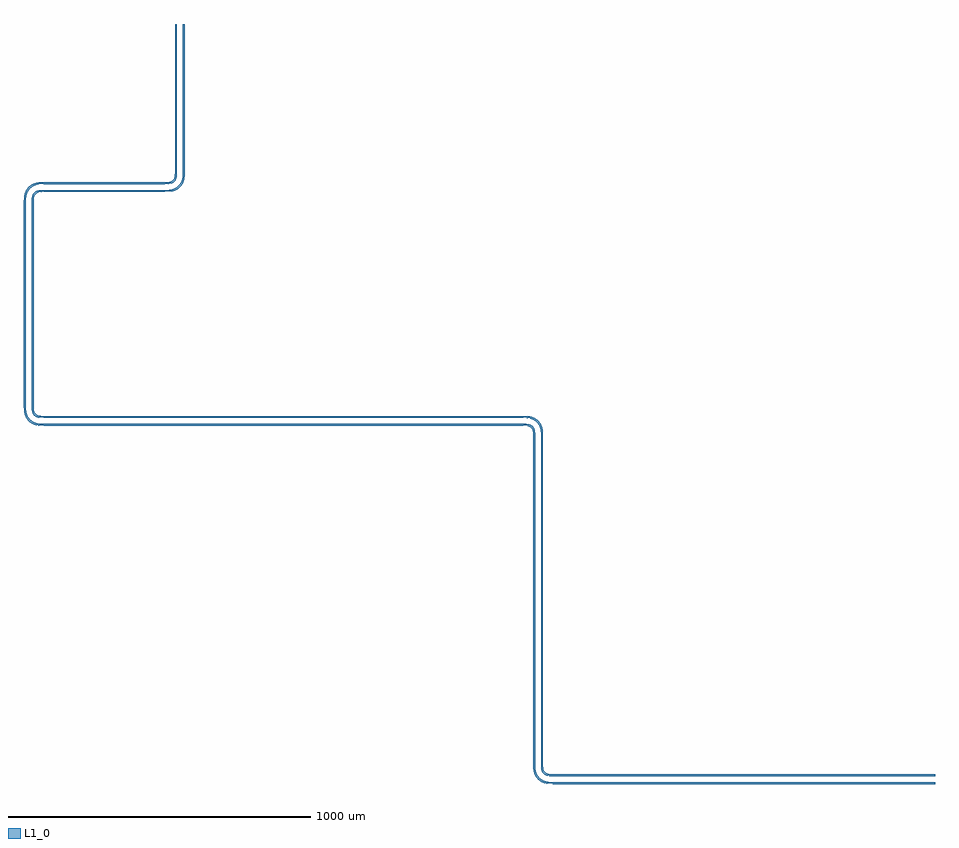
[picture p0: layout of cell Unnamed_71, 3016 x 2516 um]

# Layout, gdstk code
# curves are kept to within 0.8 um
import gdstk
lib = gdstk.Library(unit=1e-6, precision=1e-09)
def R(c, l, rs):  # rectangles x0, y0, x1, y1
    for r in rs: c.add(gdstk.rectangle(r[:2], r[2:], *l))
def P(c, l, *ps):  # polygons
    for p in ps: c.add(gdstk.Polygon(p, *l))
L1_0 = (1, 0)

unnamed_71 = lib.new_cell('Unnamed_71')
R(unnamed_71, L1_0, [(1236,-16,2500,-10), (1236,-16,2500,-10), (1236,10,2500,16), (1236,10,2500,16), (1170,50,1176,1136), (1196,50,1202,1136), (-450,1170,1136,1176), (-450,1196,1136,1202), (-516,1236,-510,1910), (-490,1236,-484,1910), (-450,1944,-50,1950), (-450,1970,-50,1976), (-16,2010,-10,2500), (10,2010,16,2500)])
P(unnamed_71, L1_0, [(1234.646,-16),(1219.843,-15.394),(1208.488,-13.244),(1198.152,-9.109),(1189.096,-2.983),(1181.425,5.078),(1175.509,14.959),(1171.944,25.668),(1170.246,38.192),(1169.985,1140.385),(1169.459,1149.744),(1167.954,1156.342),(1165.138,1161.506),(1160.792,1165.658),(1152.107,1169.087),(1138.364,1169.998),(-456.178,1170.037),(-473.982,1171.866),(-488.365,1177.169),(-500.756,1186.627),(-509.734,1199.369),(-514.591,1214.276),(-515.998,1233.541),(-515.993,1913.582),(-514.989,1929.331),(-511.763,1941.988),(-504.336,1955.232),(-493.345,1965.732),(-480.192,1972.409),(-464.039,1975.595),(-44.39,1976.032),(-30.398,1977.792),(-25.635,1980.054),(-21.701,1983.469),(-17.377,1991.821),(-16.019,2005.245),(-16,2500),(-10,2500),(-10.001,2008.011),(-11.52,1990.504),(-13.722,1984.599),(-17.129,1979.583),(-21.869,1975.356),(-27.61,1972.407),(-34.389,1970.744),(-43.407,1970.051),(-463.392,1969.628),(-477.784,1966.887),(-489.889,1960.827),(-499.806,1951.281),(-506.333,1939.38),(-509.144,1927.827),(-509.996,1912.991),(-509.973,1230.495),(-509.054,1217.552),(-506.506,1207.099),(-502.075,1197.978),(-495.706,1190.05),(-487.876,1183.833),(-478.422,1179.327),(-467.827,1176.856),(-454.52,1176.015),(1137.989,1175.999),(1150.508,1175.41),(1159.299,1173.244),(1166.562,1168.744),(1171.96,1161.997),(1174.857,1153.856),(1175.936,1143.09),(1176.029,44.354),(1177.092,30.617),(1179.968,19.824),(1184.975,10.395),(1192.184,2.278),(1200.055,-3.313),(1209.015,-7.142),(1219.101,-9.267),(1231.899,-9.989),(2500,-10),(2500,-16)],
  [(1234.67,10),(1217.214,11.347),(1211.377,13.337),(1206.322,16.509),(1202.034,20.93),(1198.903,26.345),(1197.059,32.564),(1196.147,40.712),(1195.964,1142.071),(1194.719,1156.48),(1191.101,1168.399),(1184.732,1178.634),(1175.889,1186.827),(1168.556,1191.03),(1160.275,1193.901),(1151.059,1195.476),(1139.545,1195.993),(-455.085,1196.023),(-466.586,1196.902),(-474.797,1199.42),(-481.618,1204.246),(-486.538,1211.116),(-489.256,1220.389),(-490,1234.67),(-489.998,1912.381),(-489.41,1924.508),(-487.387,1932.939),(-483.308,1939.902),(-477.326,1945.175),(-470.39,1948.239),(-460.955,1949.755),(-41.053,1950.114),(-28.734,1951.429),(-18.71,1954.417),(-9.83,1959.373),(-2.278,1966.184),(3.143,1973.754),(6.887,1982.216),(9.1,1991.863),(9.953,2003.359),(10,2500),(16,2500),(15.98,2004.988),(15.155,1991.848),(12.818,1981.061),(8.642,1971.292),(2.729,1962.798),(-5.39,1955.189),(-14.959,1949.509),(-25.493,1945.984),(-37.56,1944.286),(-457.275,1943.928),(-466.555,1942.999),(-472.974,1940.775),(-478.299,1936.531),(-481.848,1930.627),(-483.52,1923.248),(-483.998,1912.364),(-483.995,1232.87),(-482.558,1217.576),(-480.487,1212.512),(-477.339,1208.453),(-473.232,1205.367),(-468.424,1203.442),(-453.13,1202.005),(1138.459,1201.998),(1155.331,1200.989),(1169.067,1197.34),(1176.232,1193.761),(1182.754,1189.109),(1188.473,1183.498),(1193.249,1177.065),(1199.442,1162.801),(1201.893,1144.868),(1202.005,46.87),(1203.624,30.938),(1205.934,25.821),(1209.469,21.701),(1213.548,18.953),(1218.236,17.272),(1232.87,16.005),(2500,16),(2500,10)],
  [(1234.67,10),(1217.214,11.347),(1211.377,13.337),(1206.322,16.509),(1201.976,21.007),(1198.792,26.612),(1196.959,33.094),(1196.13,41.074),(1195.982,1140.801),(1195.207,1153.362),(1193.042,1163.305),(1189.313,1171.945),(1183.722,1179.816),(1175.605,1187.025),(1165.858,1192.154),(1154.603,1195.031),(1140.801,1195.982),(-451.989,1196.001),(-465.062,1196.664),(-474.361,1199.215),(-481.48,1204.11),(-486.58,1211.203),(-489.188,1219.953),(-489.986,1231.679),(-489.977,1915.085),(-489.41,1924.508),(-487.853,1931.643),(-484.913,1937.731),(-480.562,1942.744),(-475.828,1946.053),(-470.683,1948.154),(-455.716,1949.967),(-50,1950),(-50,1944),(-458.086,1943.9),(-466.107,1943.087),(-471.989,1941.272),(-476.967,1937.904),(-480.633,1933.232),(-483.218,1925.373),(-483.995,1913.13),(-483.981,1231.245),(-483.309,1221.191),(-481.334,1214.145),(-477.339,1208.453),(-471.721,1204.605),(-463.843,1202.554),(-451.976,1202.001),(1141.012,1201.98),(1155.84,1200.911),(1168.168,1197.694),(1179.024,1191.956),(1188.215,1183.792),(1194.257,1175.389),(1198.529,1165.833),(1201.014,1155.162),(1201.963,1142.178),(1202.015,45.615),(1202.554,36.157),(1204.152,29.373),(1207.134,24.146),(1211.635,20.054),(1219.984,16.896),(1233.636,16.002),(2500,16),(2500,10)],
  [(1234.646,-16),(1219.843,-15.394),(1208.488,-13.244),(1198.152,-9.109),(1189.096,-2.983),(1181.425,5.078),(1175.509,14.959),(1171.944,25.668),(1170.246,38.192),(1169.995,1139.13),(1168.728,1153.764),(1167.047,1158.452),(1164.299,1162.531),(1160.179,1166.066),(1155.373,1168.281),(1140.385,1169.985),(-452.738,1170.003),(-471.208,1171.316),(-486.104,1176.007),(-493.024,1180.044),(-499.09,1184.974),(-508.642,1197.292),(-514.056,1211.668),(-515.968,1230.115),(-515.938,1917.362),(-514.684,1931.208),(-511.34,1943.067),(-505.505,1953.664),(-497.498,1962.473),(-489.389,1968.257),(-480.192,1972.409),(-470.181,1974.857),(-458.262,1975.913),(-50,1976),(-50,1970),(-462.341,1969.707),(-475.709,1967.519),(-486.843,1962.796),(-496.433,1955.212),(-503.646,1945.34),(-508.444,1931.897),(-509.989,1914.101),(-509.936,1228.644),(-508.168,1212.837),(-503.313,1200.055),(-494.584,1188.974),(-483.183,1181.261),(-469.696,1177.144),(-452.441,1176.002),(1140.321,1175.986),(1150.508,1175.41),(1158.019,1173.725),(1164.131,1170.644),(1169.06,1166.198),(1172.366,1161.229),(1174.48,1155.496),(1175.994,1139.291),(1176.057,42.93),(1177.46,28.576),(1181.261,16.817),(1188.05,6.444),(1197.397,-1.701),(1204.551,-5.516),(1212.519,-8.094),(1232.455,-9.993),(2500,-10),(2500,-16)],
  [(1234.67,10),(1217.214,11.347),(1211.377,13.337),(1206.322,16.509),(1201.976,21.007),(1198.792,26.612),(1196.959,33.094),(1196.13,41.074),(1195.982,1140.801),(1195.207,1153.362),(1193.042,1163.305),(1189.313,1171.945),(1183.722,1179.816),(1175.605,1187.025),(1165.858,1192.154),(1154.603,1195.031),(1140.801,1195.982),(-451.989,1196.001),(-465.062,1196.664),(-474.361,1199.215),(-481.48,1204.11),(-486.58,1211.203),(-489.188,1219.953),(-489.986,1231.679),(-489.977,1915.085),(-489.41,1924.508),(-487.853,1931.643),(-484.913,1937.731),(-480.562,1942.744),(-475.828,1946.053),(-470.683,1948.154),(-455.716,1949.967),(-50,1950),(-50,1944),(-458.086,1943.9),(-466.107,1943.087),(-471.989,1941.272),(-476.967,1937.904),(-480.633,1933.232),(-483.218,1925.373),(-483.995,1913.13),(-483.981,1231.245),(-483.309,1221.191),(-481.334,1214.145),(-477.339,1208.453),(-471.721,1204.605),(-463.843,1202.554),(-451.976,1202.001),(1141.012,1201.98),(1155.84,1200.911),(1168.168,1197.694),(1179.024,1191.956),(1188.215,1183.792),(1194.257,1175.389),(1198.529,1165.833),(1201.014,1155.162),(1201.963,1142.178),(1202.015,45.615),(1202.554,36.157),(1204.152,29.373),(1207.134,24.146),(1211.635,20.054),(1219.984,16.896),(1233.636,16.002),(2500,16),(2500,10)],
  [(1234.646,-16),(1219.843,-15.394),(1208.488,-13.244),(1198.152,-9.109),(1189.096,-2.983),(1181.425,5.078),(1175.509,14.959),(1171.944,25.668),(1170.246,38.192),(1169.995,1139.13),(1168.728,1153.764),(1167.047,1158.452),(1164.299,1162.531),(1160.179,1166.066),(1155.373,1168.281),(1140.385,1169.985),(-452.738,1170.003),(-471.208,1171.316),(-486.104,1176.007),(-493.024,1180.044),(-499.09,1184.974),(-508.642,1197.292),(-514.056,1211.668),(-515.968,1230.115),(-515.938,1917.362),(-514.684,1931.208),(-511.34,1943.067),(-505.505,1953.664),(-497.498,1962.473),(-489.389,1968.257),(-480.192,1972.409),(-470.181,1974.857),(-458.262,1975.913),(-50,1976),(-50,1970),(-462.341,1969.707),(-475.709,1967.519),(-486.843,1962.796),(-496.433,1955.212),(-503.646,1945.34),(-508.444,1931.897),(-509.989,1914.101),(-509.936,1228.644),(-508.168,1212.837),(-503.313,1200.055),(-494.584,1188.974),(-483.183,1181.261),(-469.696,1177.144),(-452.441,1176.002),(1140.321,1175.986),(1150.508,1175.41),(1158.019,1173.725),(1164.131,1170.644),(1169.06,1166.198),(1172.366,1161.229),(1174.48,1155.496),(1175.994,1139.291),(1176.057,42.93),(1177.46,28.576),(1181.261,16.817),(1188.05,6.444),(1197.397,-1.701),(1204.551,-5.516),(1212.519,-8.094),(1232.455,-9.993),(2500,-10),(2500,-16)],
  [(1234.646,-16),(1219.843,-15.394),(1208.488,-13.244),(1198.152,-9.109),(1189.096,-2.983),(1181.425,5.078),(1175.509,14.959),(1171.944,25.668),(1170.246,38.192),(1169.995,1139.13),(1168.686,1153.931),(1166.913,1158.714),(1164.004,1162.859),(1159.678,1166.375),(1154.666,1168.491),(1139.13,1169.995),(-452.459,1170.002),(-470.693,1171.227),(-484.506,1175.269),(-497.498,1183.527),(-507.455,1195.267),(-513.442,1209.199),(-515.844,1225.907),(-516,1910),(-510,1910),(-509.85,1226.176),(-507.694,1210.929),(-502.44,1198.565),(-493.556,1188.05),(-481.925,1180.689),(-468.915,1177.017),(-452.441,1176.002),(1140.321,1175.986),(1149.948,1175.479),(1157.358,1173.946),(1163.326,1171.175),(1168.551,1166.778),(1172.144,1161.658),(1174.375,1155.896),(1175.994,1139.291),(1176.064,42.644),(1177.556,28.103),(1181.486,16.35),(1188.393,6.055),(1197.978,-2.075),(1205.028,-5.714),(1212.837,-8.168),(1232.455,-9.993),(2500,-10),(2500,-16)],
  [(1234.67,10),(1217.214,11.347),(1211.377,13.337),(1206.322,16.509),(1201.976,21.007),(1198.792,26.612),(1196.959,33.094),(1196.13,41.074),(1195.982,1140.801),(1195.207,1153.362),(1192.991,1163.464),(1189.143,1172.246),(1183.26,1180.33),(1175.035,1187.414),(1165.38,1192.333),(1154.603,1195.031),(1140.801,1195.982),(-451.989,1196.001),(-465.062,1196.664),(-473.921,1199.017),(-480.92,1203.579),(-486.144,1210.342),(-488.941,1218.564),(-489.949,1229.407),(-490,1910),(-484,1910),(-483.935,1228.959),(-483.087,1219.893),(-481.047,1213.548),(-477.074,1208.197),(-471.452,1204.487),(-463.744,1202.541),(-451.976,1202.001),(1141.012,1201.98),(1155.84,1200.911),(1167.988,1197.763),(1178.702,1192.178),(1187.955,1184.084),(1194.159,1175.558),(1198.409,1166.192),(1200.989,1155.331),(1201.945,1143.064),(1202.015,45.615),(1202.58,35.961),(1204.179,29.302),(1207.226,24.032),(1211.821,19.934),(1220.257,16.846),(1233.636,16.002),(2500,16),(2500,10)],
  [(1234.646,-16),(1219.843,-15.394),(1208.488,-13.244),(1198.152,-9.109),(1189.096,-2.983),(1181.425,5.078),(1175.509,14.959),(1171.944,25.668),(1170.246,38.192),(1169.995,1139.13),(1168.686,1153.931),(1166.913,1158.714),(1164.004,1162.859),(1159.678,1166.375),(1154.666,1168.491),(1139.13,1169.995),(-452.459,1170.002),(-470.693,1171.227),(-484.506,1175.269),(-497.498,1183.527),(-507.455,1195.267),(-513.442,1209.199),(-515.844,1225.907),(-516,1910),(-510,1910),(-509.85,1226.176),(-507.694,1210.929),(-502.44,1198.565),(-493.556,1188.05),(-481.925,1180.689),(-468.915,1177.017),(-452.441,1176.002),(1140.321,1175.986),(1149.948,1175.479),(1157.358,1173.946),(1163.326,1171.175),(1168.551,1166.778),(1172.144,1161.658),(1174.375,1155.896),(1175.994,1139.291),(1176.064,42.644),(1177.556,28.103),(1181.486,16.35),(1188.393,6.055),(1197.978,-2.075),(1205.028,-5.714),(1212.837,-8.168),(1232.455,-9.993),(2500,-10),(2500,-16)],
  [(1234.67,10),(1217.214,11.347),(1211.377,13.337),(1206.322,16.509),(1201.976,21.007),(1198.792,26.612),(1196.959,33.094),(1196.13,41.074),(1195.982,1140.801),(1195.207,1153.362),(1192.991,1163.464),(1189.143,1172.246),(1183.26,1180.33),(1175.035,1187.414),(1165.38,1192.333),(1154.603,1195.031),(1140.801,1195.982),(-451.989,1196.001),(-465.062,1196.664),(-473.921,1199.017),(-480.92,1203.579),(-486.144,1210.342),(-488.941,1218.564),(-489.949,1229.407),(-490,1910),(-484,1910),(-483.935,1228.959),(-483.087,1219.893),(-481.047,1213.548),(-477.074,1208.197),(-471.452,1204.487),(-463.744,1202.541),(-451.976,1202.001),(1141.012,1201.98),(1155.84,1200.911),(1167.988,1197.763),(1178.702,1192.178),(1187.955,1184.084),(1194.159,1175.558),(1198.409,1166.192),(1200.989,1155.331),(1201.945,1143.064),(1202.015,45.615),(1202.58,35.961),(1204.179,29.302),(1207.226,24.032),(1211.821,19.934),(1220.257,16.846),(1233.636,16.002),(2500,16),(2500,10)],
  [(1234.646,-16),(1219.843,-15.394),(1208.488,-13.244),(1198.152,-9.109),(1189.096,-2.983),(1181.425,5.078),(1175.509,14.959),(1171.944,25.668),(1170.246,38.192),(1169.985,1140.385),(1169.459,1149.744),(1167.954,1156.342),(1165.183,1161.447),(1160.973,1165.531),(1152.287,1169.052),(1138.364,1169.998),(-450,1170),(-450,1176),(1138.381,1175.998),(1153.856,1174.857),(1164.29,1170.534),(1169.731,1165.375),(1173.387,1158.939),(1175.336,1151.062),(1175.986,1140.321),(1176.057,42.93),(1177.144,30.304),(1180.093,19.505),(1185.173,10.111),(1192.184,2.278),(1200.055,-3.313),(1209.015,-7.142),(1219.101,-9.267),(1231.899,-9.989),(2500,-10),(2500,-16)],
  [(1234.67,10),(1217.214,11.347),(1211.377,13.337),(1206.322,16.509),(1202.034,20.93),(1198.903,26.345),(1197.059,32.564),(1196.147,40.712),(1195.964,1142.071),(1194.719,1156.48),(1191.101,1168.399),(1184.732,1178.634),(1175.889,1186.827),(1168.556,1191.03),(1160.275,1193.901),(1151.059,1195.476),(1140.101,1195.989),(-450,1196),(-450,1202),(1139.582,1201.993),(1152.157,1201.394),(1162.093,1199.629),(1171.041,1196.491),(1179.345,1191.732),(1189.109,1182.754),(1196.245,1171.574),(1200.356,1158.936),(1201.938,1143.362),(1202.005,46.87),(1203.624,30.938),(1205.934,25.821),(1209.469,21.701),(1213.548,18.953),(1218.236,17.272),(1232.87,16.005),(2500,16),(2500,10)],
  [(1234.646,-16),(1219.843,-15.394),(1208.488,-13.244),(1198.152,-9.109),(1189.096,-2.983),(1181.425,5.078),(1175.509,14.959),(1171.944,25.668),(1170.246,38.192),(1169.985,1140.385),(1169.459,1149.744),(1167.954,1156.342),(1165.183,1161.447),(1160.973,1165.531),(1152.287,1169.052),(1138.364,1169.998),(-450,1170),(-450,1176),(1138.381,1175.998),(1153.856,1174.857),(1164.29,1170.534),(1169.731,1165.375),(1173.387,1158.939),(1175.336,1151.062),(1175.986,1140.321),(1176.057,42.93),(1177.144,30.304),(1180.093,19.505),(1185.173,10.111),(1192.184,2.278),(1200.055,-3.313),(1209.015,-7.142),(1219.101,-9.267),(1231.899,-9.989),(2500,-10),(2500,-16)],
  [(1234.67,10),(1217.214,11.347),(1211.377,13.337),(1206.322,16.509),(1202.034,20.93),(1198.903,26.345),(1197.059,32.564),(1196.147,40.712),(1195.964,1142.071),(1194.719,1156.48),(1191.101,1168.399),(1184.732,1178.634),(1175.889,1186.827),(1168.556,1191.03),(1160.275,1193.901),(1151.059,1195.476),(1140.101,1195.989),(-450,1196),(-450,1202),(1139.582,1201.993),(1152.157,1201.394),(1162.093,1199.629),(1171.041,1196.491),(1179.345,1191.732),(1189.109,1182.754),(1196.245,1171.574),(1200.356,1158.936),(1201.938,1143.362),(1202.005,46.87),(1203.624,30.938),(1205.934,25.821),(1209.469,21.701),(1213.548,18.953),(1218.236,17.272),(1232.87,16.005),(2500,16),(2500,10)],
  [(1234.646,-16),(1219.843,-15.394),(1208.488,-13.244),(1198.152,-9.109),(1189.096,-2.983),(1181.425,5.078),(1175.509,14.959),(1171.866,26.018),(1170.21,38.82),(1170,1136),(1176,1136),(1176.047,43.359),(1177.144,30.304),(1180.093,19.505),(1185.273,9.97),(1192.705,1.824),(1200.66,-3.646),(1209.174,-7.191),(1219.563,-9.324),(1231.899,-9.989),(2500,-10),(2500,-16)],
  [(1234.67,10),(1217.214,11.347),(1211.203,13.42),(1206.098,16.692),(1201.803,21.24),(1198.648,26.971),(1196.902,33.414),(1196.091,42.048),(1196,1136),(1202,1136),(1202.019,45.245),(1203.743,30.551),(1206.054,25.635),(1209.58,21.604),(1213.614,18.92),(1218.405,17.231),(1232.87,16.005),(2500,16),(2500,10)],
  [(1234.646,-16),(1219.843,-15.394),(1208.488,-13.244),(1198.152,-9.109),(1189.096,-2.983),(1181.425,5.078),(1175.509,14.959),(1171.866,26.018),(1170.21,38.82),(1170,1136),(1176,1136),(1176.047,43.359),(1177.144,30.304),(1180.093,19.505),(1185.273,9.97),(1192.705,1.824),(1200.66,-3.646),(1209.174,-7.191),(1219.563,-9.324),(1231.899,-9.989),(2500,-10),(2500,-16)],
  [(1234.67,10),(1217.214,11.347),(1211.203,13.42),(1206.098,16.692),(1201.803,21.24),(1198.648,26.971),(1196.902,33.414),(1196.091,42.048),(1196,1136),(1202,1136),(1202.019,45.245),(1203.743,30.551),(1206.054,25.635),(1209.58,21.604),(1213.614,18.92),(1218.405,17.231),(1232.87,16.005),(2500,16),(2500,10)])

lib.write_gds('Unnamed_71.gds')
